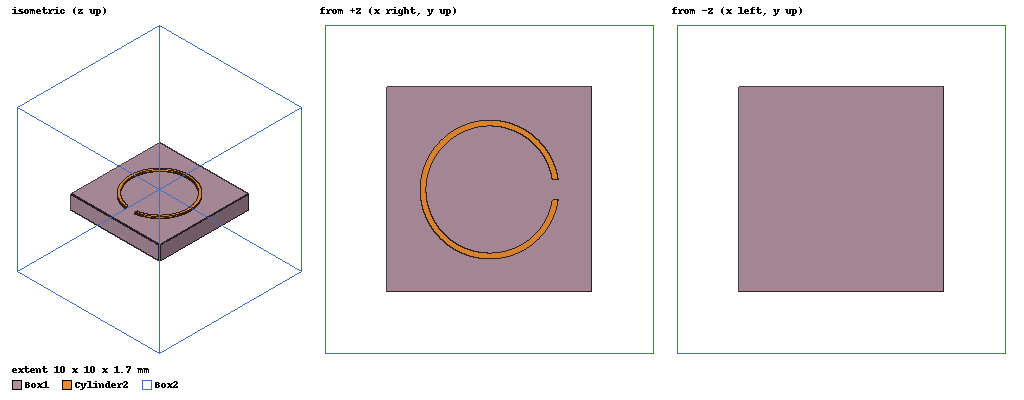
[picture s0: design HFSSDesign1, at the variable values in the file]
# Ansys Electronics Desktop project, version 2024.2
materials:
  vacuum: permittivity=1
  FR4_epoxy: permittivity=4.4 dielectric_loss_tangent=0.02
  copper: permeability=0.999991 conductivity=58000000
  air: permittivity=1.0006 permeability=1.0000004

design HFSSDesign1 (HFSS, HFSS Terminal Network, model units mm)
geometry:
  Box1 [FR4_epoxy] = box(corner=(0mm, 0mm, 0mm), size=(10mm, 10mm, 1.6mm))
  Cylinder1 = cylinder(axis=Z, base_centre=(5mm, 5mm, 1.6mm), radius=3.1mm, height=0.1mm)
  Cylinder2 [copper] = cylinder(axis=Z, base_centre=(5mm, 5mm, 1.6mm), radius=3.381mm, height=0.1mm)
  Slit = box(corner=(8mm, 4.5mm, 1.6mm), size=(2mm, 1mm, 0.1mm))
  Cylinder2.subtract(Cylinder1)
  Cylinder2.subtract(Slit)
  Box2 [air] = box(corner=(-3mm, -3mm, -6mm), size=(16mm, 16mm, 16mm))
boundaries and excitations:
  PerfE1: Perfect E Objects=Cylinder2
  PerfE2: Perfect E Faces=Box2.face(-y)
  PerfE3: Perfect E Faces=Box2.face(+y)
  PerfH1: Perfect H Faces=Box2.face(+z)
  PerfH2: Perfect H Faces=Box2.face(-z)
  1: Wave Port Faces=Box2.face(+x) WavePortType=Modal NumModes=1 Modes{Mode1{IntLine{(13, -3, 2.5) -> (13, 13, 1.5)} CharImp=Zpi}}
  2: Wave Port Faces=Box2.face(-x) WavePortType=Modal NumModes=1 Modes{Mode1{IntLine{(-3, -3, 1) -> (-3, 13, 1)} CharImp=Zpi}}
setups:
  Setup1: HfssDriven Frequency=5GHz MaxDeltaS=0.02 MaximumPasses=10 MinimumPasses=1 MinimumConvergedPasses=1 PercentRefinement=30 BasisOrder=1 PortAccuracy=2 DrivenSolverType="Direct Solver"
    sweep Sweep: 1GHz to 10GHz, 401 points; Type=Fast SaveFields
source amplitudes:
  1:1: 1V 0deg
  2:1: 0V 0deg
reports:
  S Parameter Plot 2: dB(S(1,1)), dB(S(2,1)) vs Freq on Setup1 : Sweep; markers m1 at 4.96GHz, m2 at 4.9375GHz
